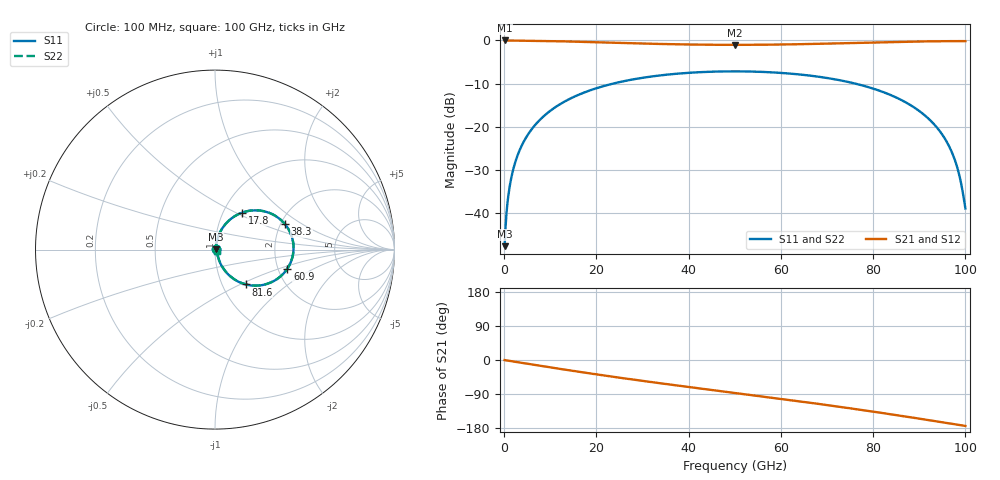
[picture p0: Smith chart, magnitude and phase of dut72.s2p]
! Touchstone file exported from HFSS 2026.1.0
!  File:  C:/ffzhzh/LocalFiles/Ansys_Project_Files/temp_train_RDL_72_1783498631_41296.aedt
!  Generated:  04:18:30 PM Jul  8, 2026
!  Design:  RDL
!  Project:  temp_train_RDL_72_1783498631_41296
! Variables:
!  h_bsmrdl = 2um
!  h_ox = 20um
!  h_rdl = 5um
!  h_sub = 80um
!  h_tmrdl = 2.13um
!  h_tsv = 80um
!  h_via = 3um
!  l_bsmrdl = 300um
!  l_sub = 976.17um
!  l_tmrdl = 576.17um
!  m_sub = 200um
!  pitch = 46.85um
!  r_tsv = 6um
!  s_tmrdl = 10um
!  w_bsmrdl = 18um
!  w_sub = 500um
!  w_tmrdl = 28.63um
!  x_tsv_center1 = 590.485um
!  x_tsv_center2 = 908.485um
!  x_tsv_center3 = 1513.285um
!  x_tsv_center4 = 1831.285um
!  x_tsv_center5 = 2436.085um
!  x_tsv_center6 = 2754.085um
# GHz S MA R 50.000000
! Terminal data exported
! Port[1] = TM_RDL1_1_T1
! Port[2] = TM_RDL1_1_T2
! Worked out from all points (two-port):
!   1000 points, 100 MHz to 100 GHz, reference 50 ohm
!   highest |S21| = -0.03 dB at 100 MHz (marker M1); lowest = -1.0 dB at 50.1 GHz (marker M2)
!   |S21| within 3 dB of the highest: start of sweep to end of sweep
!   lowest |S11| = -47.6 dB at 100 MHz (marker M3), VSWR 1.01, Z = 50.4 + j0.192 ohm
!   |S11| at or under -10 dB: start of sweep to 23.64 GHz; 76.1 GHz to end of sweep
!   |S22| runs from -47.6 to -7.2 dB; largest |S21 - S12| = 1.7e-14
!   S11 on the Smith chart (normalised r, x): 100 MHz: 1.01, +0.00; 17.8 GHz: 1.22, +0.54; 38.3 GHz: 2.11, +0.72; 60.9 GHz: 2.25, -0.58; 81.6 GHz: 1.29, -0.54; 100 GHz: 1.02, -0.01
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0.1  0.004177 27.1  0.9963 -0.2  0.9963 -0.2  0.004177 27.1
! Gamma 0 0 0 0
! Port Impedance 50 0 50 0
0.9  0.01591 70.0  0.9949 -1.8  0.9949 -1.8  0.01591 70.0
1.6  0.02654 75.2  0.9943 -3.2  0.9943 -3.2  0.02654 75.2
2.7  0.04352 77.2  0.9934 -5.3  0.9934 -5.3  0.04352 77.2
4.3  0.06828 76.5  0.9917 -8.5  0.9917 -8.5  0.06828 76.5
6.5  0.1019 73.6  0.9883 -12.7  0.9883 -12.7  0.1019 73.6
9.2  0.1418 69.1  0.9827 -17.9  0.9827 -17.9  0.1418 69.1
16.8  0.2427 55.6  0.9606 -32.1  0.9606 -32.1  0.2427 55.7
17.8  0.2546 53.9  0.9573 -34.0  0.9573 -34.0  0.2546 53.9
33.4  0.3906 27.7  0.9085 -60.7  0.9085 -60.7  0.3906 27.8
38.3  0.4147 20.0  0.8978 -68.6  0.8978 -68.6  0.4147 20.1
50.1  0.4379 1.9  0.8865 -87.1  0.8865 -87.1  0.4379 2.0
60.9  0.4169 -14.8  0.8957 -104.0  0.8957 -104.0  0.417 -14.6
66.7  0.3886 -23.9  0.9076 -113.4  0.9076 -113.4  0.3887 -23.7
81.6  0.2589 -48.6  0.9492 -139.2  0.9492 -139.2  0.259 -48.3
83.4  0.2379 -51.6  0.9542 -142.4  0.9542 -142.4  0.238 -51.4
90.1  0.151 -62.7  0.9697 -155.0  0.9697 -155.0  0.1512 -62.3
94.9  0.08259 -68.7  0.9766 -164.2  0.9766 -164.2  0.08279 -68.3
96.5  0.05918 -69.1  0.9778 -167.3  0.9778 -167.3  0.05939 -68.6
97.8  0.04021 -67.1  0.9785 -169.8  0.9785 -169.8  0.04044 -66.5
98.7  0.02733 -62.1  0.9787 -171.5  0.9787 -171.5  0.0276 -61.3
100  0.01141 -27.7  0.9787 -174.0  0.9787 -174.0  0.01177 -27.3
